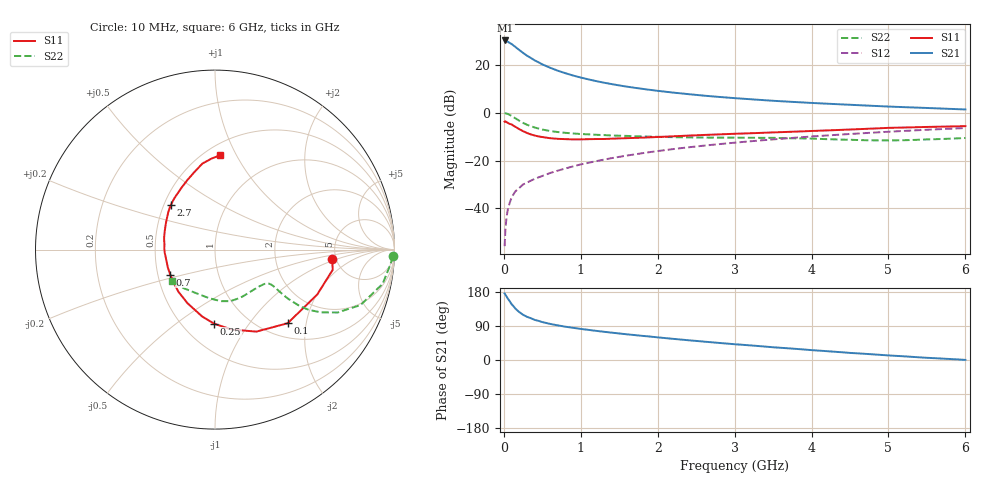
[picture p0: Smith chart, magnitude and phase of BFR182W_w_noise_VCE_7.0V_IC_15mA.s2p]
! (c) 2017  Infineon Technologies AG, Munich
! Infineon Technologies  Discrete & RF Semiconductors
! BFR182W
! VCE =  7.0 V,  IC =  15 mA
! Common Emitter S-Parameters:  Jan 2017
# GHz  S  MA  R  50
!  f  S11  S21  S12  S22
! GHz  MAG  ANG  MAG  ANG  MAG  ANG  MAG  ANG
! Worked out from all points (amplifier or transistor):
!   77 points, 10 MHz to 6 GHz, reference 50 ohm
!   highest |S21| = 30.4 dB at 20 MHz (marker M1)
!   |S21| within 3 dB of that: start of sweep to 161.5 MHz
!   unconditionally stable (mu >= 1): 928.3 MHz to 2.46 GHz
!   at 130 MHz: K = 0.36, MSG = 31.0 dB, |S12| = -33.9 dB
!   at 2.2 GHz: K = 1.01, MAG = 11.1 dB, |S12| = -15.2 dB
!   at 6 GHz: K = 0.86, MSG = 3.9 dB, |S12| = -6.4 dB
!   lowest NFmin = 1.25 dB at 450 MHz
!   S11 on the Smith chart (normalised r, x): 10 MHz: 4.61, -0.88; 100 MHz: 1.28, -1.57; 250 MHz: 0.70, -0.70; 700 MHz: 0.58, -0.18; 2.7 GHz: 0.54, +0.31; 6 GHz: 0.59, +0.86
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0.01  0.6541 -4.8  32.77 175.7  0.0016 88.7  0.9904 -2.2
0.02  0.6657 -9.7  33.03 172.5  0.0034 86.5  0.9814 -4.7
0.05  0.6224 -23.7  31.27 162.4  0.0091 81.7  0.9529 -11.6
0.1  0.5763 -45.4  27.95 147.5  0.0165 73.9  0.8672 -20.9
0.15  0.5118 -63.2  24.2 135.6  0.0226 66.6  0.7689 -27.1
0.2  0.4557 -78.0  20.85 126.5  0.0266 65.8  0.6852 -30.7
0.25  0.4132 -90.6  18.14 119.3  0.0315 63.2  0.6177 -32.8
0.3  0.3794 -100.9  15.87 114.0  0.0344 62.6  0.564 -33.7
0.4  0.3354 -117.3  12.65 105.9  0.0412 63.4  0.4929 -33.9
0.5  0.3111 -130.9  10.42 100.1  0.0475 64.8  0.4471 -33.4
0.6  0.2944 -141.9  8.866 95.3  0.0547 65.8  0.417 -32.8
0.7  0.2854 -150.9  7.682 91.4  0.0613 67.2  0.3964 -32.2
0.9  0.2779 -165.2  6.071 84.9  0.0754 68.0  0.37 -31.9
1.1  0.2807 -176.5  5.041 79.5  0.0897 69.0  0.3541 -32.3
1.3  0.2832 174.0  4.3 74.5  0.1045 68.8  0.3422 -33.7
1.5  0.2915 166.6  3.766 70.0  0.1196 68.5  0.332 -35.7
2.1  0.3168 148.3  2.781 57.8  0.1659 66.0  0.3117 -45.1
2.7  0.3489 134.8  2.228 46.8  0.2131 62.4  0.3033 -57.3
3.1  0.3688 126.6  1.986 40.2  0.245 59.5  0.3011 -65.5
4.1  0.4225 110.2  1.587 24.7  0.3277 51.4  0.2847 -86.1
5.1  0.4886 97.1  1.338 10.9  0.4099 42.1  0.2653 -116.2
6  0.5271 86.8  1.18 0.3  0.4805 33.1  0.2974 -143.5
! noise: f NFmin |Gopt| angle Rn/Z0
0.45  1.25  0.04  146  0.15
0.9  1.33  0.05  146  0.15
1.9  1.82  0.24  -148  0.15
2.4  2.07  0.24  -133  0.22
